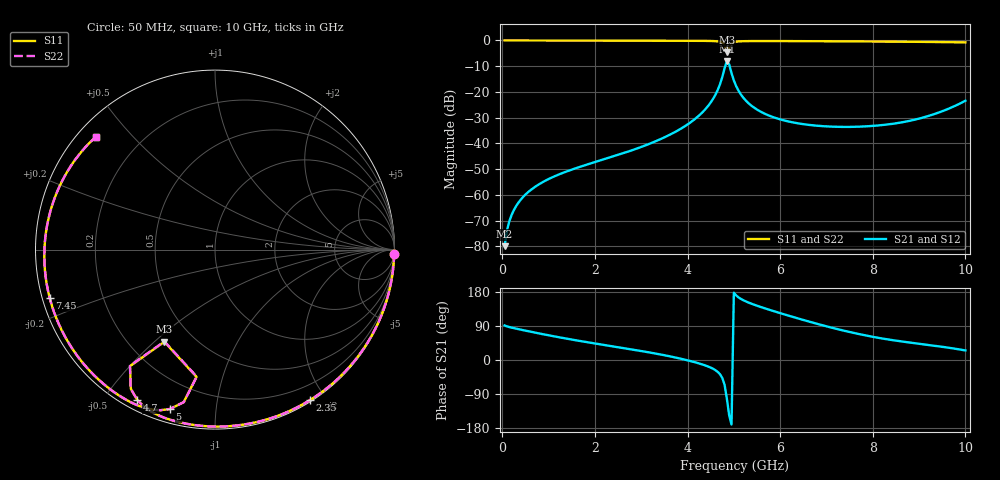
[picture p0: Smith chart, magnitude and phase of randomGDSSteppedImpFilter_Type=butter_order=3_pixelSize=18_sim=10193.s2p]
! freq	dB(S11)	phase(S11)	dB(S12)	phase(S12)
!  dB(S21)	phase(S21)	dB(S22)	phase(S22)
!S-par simulation data
#  GHz  S  DB  R 50
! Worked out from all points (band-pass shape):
!   200 points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, 50 MHz to 10 GHz, reference 50 ohm
!   highest |S21| = -7.94 dB at 4.85 GHz (marker M1); lowest = -79.9 dB at 50 MHz (marker M2)
!   |S21| within 3 dB of the highest: 4.798 GHz to 4.923 GHz (125.4 MHz wide, 2.58 % of centre)
!   lowest |S11| = -4.6 dB at 4.85 GHz (marker M3), VSWR 3.83, Z = 17.2 - j26.9 ohm
!   |S11| at or under -10 dB: nowhere
!   |S22| runs from -4.7 to 0.0 dB; largest |S21 - S12| = 0
!   S11 on the Smith chart (normalised r, x): 50 MHz: 7, -90; 2.35 GHz: 0.02, -1.81; 4.7 GHz: 0.04, -0.61; 5 GHz: 0.06, -0.75; 7.45 GHz: 0.02, -0.14; 10 GHz: 0.05, +0.40
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0.05  -0.01 -1.3  -79.89 91.1  -79.89 91.1  -0.01 -1.3
0.1  -0.01 -2.5  -73.84 88.6  -73.84 88.6  -0.01 -2.5
0.2  -0.01 -5.1  -67.82 85.5  -67.82 85.5  -0.01 -5.1
0.45  -0.02 -11.4  -60.78 78.8  -60.78 78.8  -0.02 -11.4
0.95  -0.03 -23.9  -54.28 66.4  -54.28 66.4  -0.03 -23.9
1.75  -0.06 -43.6  -48.66 48.6  -48.66 48.6  -0.06 -43.6
2.35  -0.07 -57.9  -45.30 36.7  -45.30 36.7  -0.07 -57.9
3.4  -0.11 -82.1  -38.46 15.0  -38.46 15.0  -0.11 -82.1
4.25  -0.16 -101.8  -29.14 -9.1  -29.14 -9.1  -0.16 -101.8
4.5  -0.21 -108.6  -24.10 -20.0  -24.10 -20.0  -0.21 -108.7
4.7  -0.51 -117.3  -17.07 -37.4  -17.07 -37.4  -0.51 -117.3
4.8  -1.90 -126.1  -10.80 -65.5  -10.80 -65.5  -1.91 -126.2
4.85  -4.64 -118.8  -7.94 -102.7  -7.94 -102.7  -4.68 -118.9
4.9  -2.90 -98.3  -9.36 -146.5  -9.36 -146.5  -2.91 -98.2
5  -0.70 -105.8  -15.54 177.7  -15.54 177.7  -0.70 -105.7
5.05  -0.49 -108.8  -17.74 170.5  -17.74 170.5  -0.49 -108.8
5.25  -0.27 -116.4  -23.20 155.1  -23.20 155.1  -0.28 -116.4
5.6  -0.24 -125.1  -27.88 139.1  -27.88 139.1  -0.24 -125.1
6.7  -0.29 -148.3  -32.96 98.7  -32.96 98.7  -0.29 -148.3
7.45  -0.36 -163.7  -33.58 75.3  -33.58 75.3  -0.36 -163.7
8.35  -0.46 177.2  -32.57 53.8  -32.57 53.8  -0.46 177.2
10  -0.78 136.6  -23.41 25.2  -23.41 25.2  -0.78 136.6
